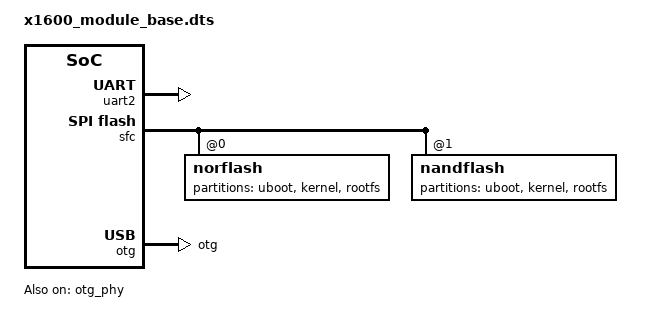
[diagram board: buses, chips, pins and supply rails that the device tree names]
/dts-v1/;

#include <dt-bindings/input/input.h>
#include "x1600.dtsi"
#include <dt-bindings/interrupt-controller/irq.h>
#include <generated/autoconf.h>


/ {
	compatible = "ingenic,x1600";

	/*chosen {
		bootargs = "console=ttyS1,115200 mem=128M@0x0ip=off init=/linuxrc ubi.mtd=3 root=ubi0:rootfs ubi.mtd=4 rootfstype=ubifs rw";
	};*/


	reserved-memory {
		#address-cells = <1>;
		#size-cells = <1>;
		ranges =<>;

		reserved_memory: reserved_mem@0x2000000{
		      compatible = "shared-dma-pool";
		      reg = <0x02000000 0x2000000>;
		};
	};

};

&uart0 {
	status = "disable";
	/* dma-mode; */
	pinctrl-names = "default";
	pinctrl-0 = <&uart0_pb>;
};

&uart1 {
	status = "disable";
	/* dma-mode; */
	pinctrl-names = "default";
	pinctrl-0 = <&uart1_pb>;
};

&uart2 {
	status = "okay";
	pinctrl-names = "default";
	pinctrl-0 = <&uart2_pb>;
};

&uart3 {
	status = "disable";
};

&cpufreq {
	status = "okay";
	operating-points = <
		/*KHZ uV */
		1200000	900000
		750000	900000
		600000	900000
		500000	900000
		400000	900000
		375000	900000
		300000	900000
		200000	900000
			>;

};

&pdma {
	status = "okay";
};

&sfc {
	status = "okay";
	pinctrl-names = "default";
	pinctrl-0 = <&sfc_pc>;
	ingenic,sfc-init-frequency = <200000000>;
	ingenic,sfc-max-frequency = <400000000>;
	ingenic,use_ofpart_info  = /bits/ 8 <0>;
	ingenic,spiflash_param_offset = <0>;

	norflash@0 {
		partitions {
			compatible = "fixed-partitions";
			#address-cells = <1>;
			#size-cells = <1>;

			/* spi nor flash partition */
			uboot@0 {
				label = "uboot";
				reg = <0x0000000 0x40000>;
				/*read-only;*/
			};

			kernel@40000 {
				label = "kernel";
				reg = <0x40000 0x300000>;
			};

			rootfs@360000 {
				label = "rootfs";
				reg = <0x360000 0xca0000>;
			};
		};
	};

	nandflash@1 {
		partitions {
			compatible = "fixed-partitions";
			#address-cells = <1>;
			#size-cells = <1>;

			/* spi nand flash partition */
			partition@0 {
				label = "uboot";
				reg = <0x0000000 0x100000>;
				/*read-only;*/
			};

			partition@100000 {
				label = "kernel";
				reg = <0x100000 0x800000>;
			};

			partition@900000 {
				label = "rootfs";
				reg = <0x900000 0xf700000>;
			};
		};
	};

};

&otg {
	g-use-dma;
	dr_mode = "otg";
	status = "okay";
};

&otg_phy {
	/*ingenic,id-dete-gpio = <&gpb 29 GPIO_ACTIVE_LOW INGENIC_GPIO_NOBIAS>;*/
	/*ingenic,vbus-dete-gpio = <&gpd 17 GPIO_ACTIVE_LOW INGENIC_GPIO_NOBIAS>;*/
	/*ingenic,drvvbus-gpio = <&gpe 22 GPIO_ACTIVE_HIGH INGENIC_GPIO_NOBIAS>;*/
	status = "okay";
};

/ {

	extclk: extclk {
		clock-frequency = <24000000>;
	};
};

